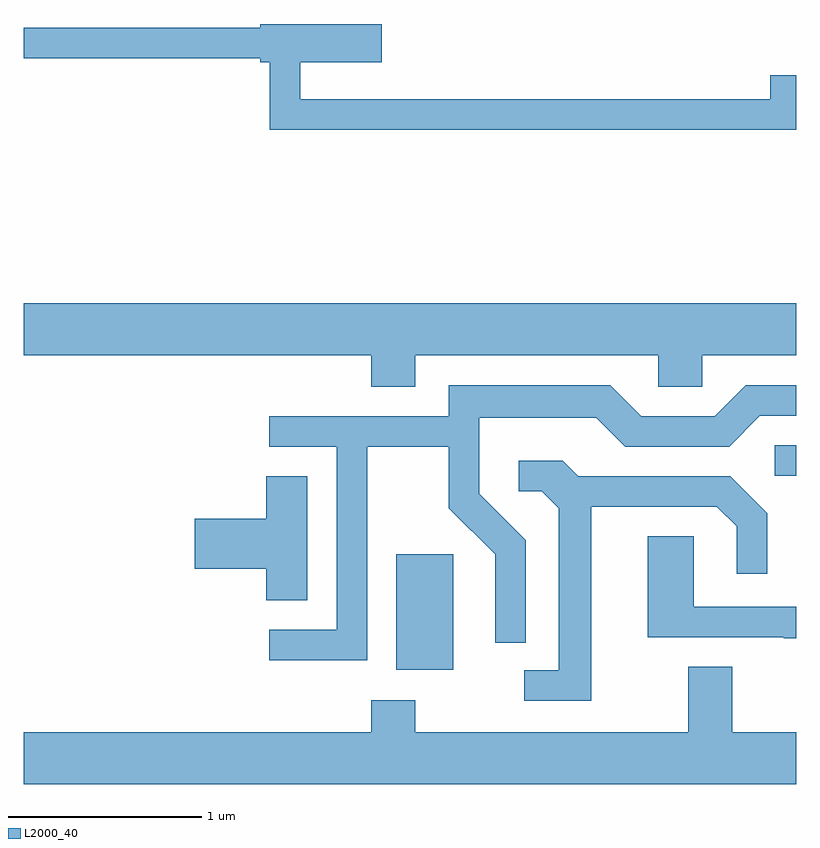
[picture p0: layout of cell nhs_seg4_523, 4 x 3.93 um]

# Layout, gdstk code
import gdstk
lib = gdstk.Library(unit=1e-6, precision=1e-09)
def R(c, l, rs):  # rectangles x0, y0, x1, y1
    for r in rs: c.add(gdstk.rectangle(r[:2], r[2:], *l))
def P(c, l, *ps):  # polygons
    for p in ps: c.add(gdstk.Polygon(p, *l))
L2000_40 = (2000, 40)

nhs_seg4_523 = lib.new_cell('nhs_seg4_523')
R(nhs_seg4_523, L2000_40, [(201.541,1348.606,201.834,1349.204), (203.498,1349.611,203.611,1349.769)])
P(nhs_seg4_523, L2000_40, [(203.611,1351.684),(203.476,1351.684),(203.476,1351.559),(201.044,1351.559),(201.044,1351.751),(201.464,1351.751),(201.464,1351.949),(200.836,1351.949),(200.836,1351.929),(199.611,1351.929),(199.611,1351.771),(200.836,1351.771),(200.836,1351.751),(200.886,1351.751),(200.886,1351.401),(203.611,1351.401)],
  [(201.639,1350.236),(202.896,1350.236),(202.896,1350.071),(203.124,1350.071),(203.124,1350.236),(203.611,1350.236),(203.611,1350.504),(199.611,1350.504),(199.611,1350.236),(201.411,1350.236),(201.411,1350.071),(201.639,1350.071)],
  [(201.389,1349.761),(201.811,1349.761),(201.811,1349.444),(202.051,1349.204),(202.051,1348.748),(202.209,1348.748),(202.209,1349.277),(201.969,1349.517),(201.969,1349.911),(202.574,1349.911),(202.724,1349.761),(203.262,1349.761),(203.422,1349.921),(203.611,1349.921),(203.611,1350.079),(203.349,1350.079),(203.189,1349.919),(202.807,1349.919),(202.647,1350.079),(201.811,1350.079),(201.811,1349.919),(200.883,1349.919),(200.883,1349.761),(201.231,1349.761),(201.231,1348.814),(200.883,1348.814),(200.883,1348.656),(201.389,1348.656)],
  [(202.549,1349.451),(203.199,1349.451),(203.301,1349.349),(203.301,1349.103),(203.459,1349.103),(203.459,1349.417),(203.267,1349.609),(202.482,1349.609),(202.402,1349.689),(202.173,1349.689),(202.173,1349.531),(202.294,1349.531),(202.381,1349.444),(202.381,1348.604),(202.203,1348.604),(202.203,1348.446),(202.549,1348.446)],
  [(201.079,1349.609),(200.866,1349.609),(200.866,1349.389),(200.496,1349.389),(200.496,1349.131),(200.866,1349.131),(200.866,1348.966),(201.079,1348.966)],
  [(203.611,1348.934),(203.079,1348.934),(203.079,1349.299),(202.841,1349.299),(202.841,1348.776),(203.545,1348.776),(203.545,1348.771),(203.611,1348.771)],
  [(203.611,1348.284),(203.279,1348.284),(203.279,1348.624),(203.051,1348.624),(203.051,1348.284),(201.639,1348.284),(201.639,1348.449),(201.411,1348.449),(201.411,1348.284),(199.611,1348.284),(199.611,1348.016),(203.611,1348.016)])

lib.write_gds('nhs_seg4_523.gds')
